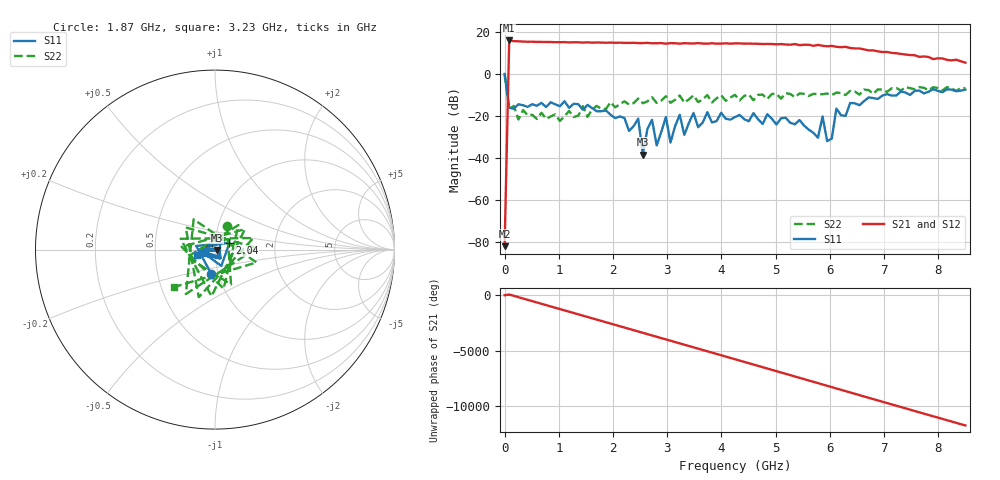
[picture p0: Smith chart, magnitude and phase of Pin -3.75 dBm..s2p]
! RsaToolbox (C) 2013 Rohde & Schwarz America
! Number of points: 101
! Number of ports: 2
! Balanced ports?: 0
# Hz S RI R 50
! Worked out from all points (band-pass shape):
!   101 points, 9 kHz to 8.5 GHz, reference 50 ohm
!   highest |S21| = 16.05 dB at 85.01 MHz (marker M1); lowest = -82.2 dB at 9 kHz (marker M2)
!   |S21| within 3 dB of the highest: 82.41 MHz to 6.116 GHz (6.034 GHz wide, 195 % of centre)
!   lowest |S11| = -38.4 dB at 2.55 GHz (marker M3), VSWR 1.02, Z = 51.2 - j0.253 ohm
!   |S11| at or under -10 dB: 53.05 MHz to 7.001 GHz (6.948 GHz wide, 197 % of centre); 7.106 GHz to 7.236 GHz (129.5 MHz wide, 1.81 % of centre)
!   |S22| runs from -22.4 to 0.1 dB; largest |S21 - S12| = 0
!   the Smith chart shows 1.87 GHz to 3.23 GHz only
!   S11 on the Smith chart (normalised r, x): 1.87 GHz: 0.93, -0.25; 2.04 GHz: 1.17, +0.09; 3.23 GHz: 0.81, -0.05
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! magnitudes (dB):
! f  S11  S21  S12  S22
! 9 kHz  0.1  -82.2  -82.2  0.1
! 85.01 MHz  -16.1  16.0  16.0  -16.6
! 1.445 GHz  -17.1  15.0  15.0  -15.3
! 1.87 GHz  -17.4  15.0  15.0  -16.6
! 2.04 GHz  -21.0  14.9  14.9  -15.9
! 2.465 GHz  -21.3  14.8  14.8  -11.7
! 2.55 GHz  -38.4  14.8  14.8  -14.0
! 2.72 GHz  -21.9  14.7  14.7  -11.1
! 2.805 GHz  -34.1  14.7  14.7  -13.8
! 2.89 GHz  -27.7  14.8  14.8  -12.7
! 2.975 GHz  -20.5  14.5  14.5  -10.6
! 3.06 GHz  -32.7  14.8  14.8  -13.7
! 3.23 GHz  -19.4  14.5  14.5  -10.2
! 3.315 GHz  -29.0  14.7  14.7  -13.6
! 3.485 GHz  -18.6  14.6  14.6  -10.2
! 4.25 GHz  -20.5  14.7  14.7  -9.9
! 5.695 GHz  -28.1  13.5  13.5  -9.5
! 5.865 GHz  -20.2  13.5  13.5  -9.6
! 5.95 GHz  -32.0  13.2  13.2  -9.3
! 6.12 GHz  -16.5  13.0  13.0  -8.8
! 7.14 GHz  -10.3  10.1  10.1  -6.8
! 8.5 GHz  -7.4  5.5  5.5  -6.7
